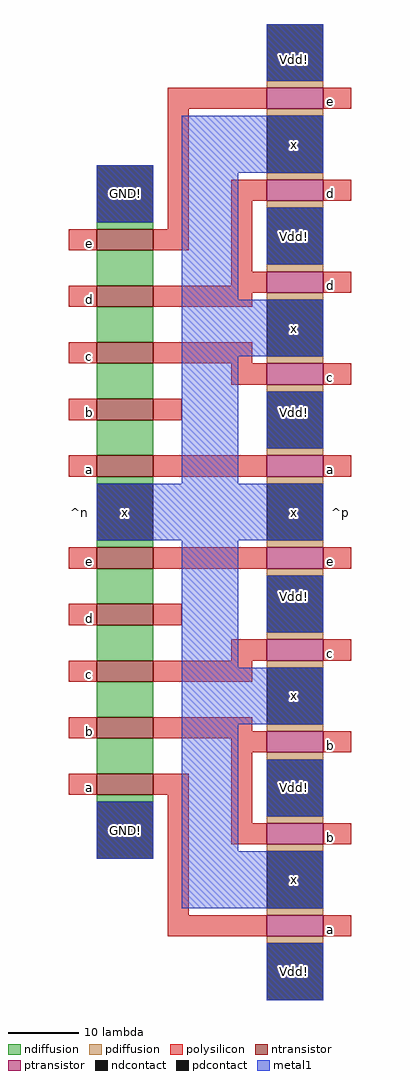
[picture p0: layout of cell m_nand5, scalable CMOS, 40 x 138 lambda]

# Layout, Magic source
magic
tech scmos
<< ndiffusion >>
rect -191 -696 -183 -695
rect -191 -704 -183 -699
rect -191 -712 -183 -707
rect -191 -720 -183 -715
rect -191 -728 -183 -723
rect -191 -732 -183 -731
rect -191 -741 -183 -740
rect -191 -749 -183 -744
rect -191 -757 -183 -752
rect -191 -765 -183 -760
rect -191 -773 -183 -768
rect -191 -777 -183 -776
<< pdiffusion >>
rect -167 -676 -159 -675
rect -167 -680 -159 -679
rect -167 -689 -159 -688
rect -167 -693 -159 -692
rect -167 -702 -159 -701
rect -167 -706 -159 -705
rect -167 -715 -159 -714
rect -167 -719 -159 -718
rect -167 -728 -159 -727
rect -167 -732 -159 -731
rect -167 -741 -159 -740
rect -167 -745 -159 -744
rect -167 -754 -159 -753
rect -167 -758 -159 -757
rect -167 -767 -159 -766
rect -167 -771 -159 -770
rect -167 -780 -159 -779
rect -167 -784 -159 -783
rect -167 -793 -159 -792
rect -167 -797 -159 -796
<< ntransistor >>
rect -191 -699 -183 -696
rect -191 -707 -183 -704
rect -191 -715 -183 -712
rect -191 -723 -183 -720
rect -191 -731 -183 -728
rect -191 -744 -183 -741
rect -191 -752 -183 -749
rect -191 -760 -183 -757
rect -191 -768 -183 -765
rect -191 -776 -183 -773
<< ptransistor >>
rect -167 -679 -159 -676
rect -167 -692 -159 -689
rect -167 -705 -159 -702
rect -167 -718 -159 -715
rect -167 -731 -159 -728
rect -167 -744 -159 -741
rect -167 -757 -159 -754
rect -167 -770 -159 -767
rect -167 -783 -159 -780
rect -167 -796 -159 -793
<< polysilicon >>
rect -181 -679 -167 -676
rect -159 -679 -155 -676
rect -181 -696 -178 -679
rect -195 -699 -191 -696
rect -183 -699 -178 -696
rect -172 -692 -167 -689
rect -159 -692 -155 -689
rect -172 -702 -169 -692
rect -172 -704 -167 -702
rect -195 -707 -191 -704
rect -183 -705 -167 -704
rect -159 -705 -155 -702
rect -183 -707 -169 -705
rect -195 -715 -191 -712
rect -183 -715 -169 -712
rect -172 -718 -167 -715
rect -159 -718 -155 -715
rect -195 -723 -191 -720
rect -183 -723 -179 -720
rect -195 -731 -191 -728
rect -183 -731 -167 -728
rect -159 -731 -155 -728
rect -195 -744 -191 -741
rect -183 -744 -167 -741
rect -159 -744 -155 -741
rect -195 -752 -191 -749
rect -183 -752 -179 -749
rect -172 -757 -167 -754
rect -159 -757 -155 -754
rect -195 -760 -191 -757
rect -183 -760 -169 -757
rect -195 -768 -191 -765
rect -183 -767 -169 -765
rect -183 -768 -167 -767
rect -172 -770 -167 -768
rect -159 -770 -155 -767
rect -195 -776 -191 -773
rect -183 -776 -178 -773
rect -181 -793 -178 -776
rect -172 -780 -169 -770
rect -172 -783 -167 -780
rect -159 -783 -155 -780
rect -181 -796 -167 -793
rect -159 -796 -155 -793
<< ndcontact >>
rect -191 -695 -183 -687
rect -191 -740 -183 -732
rect -191 -785 -183 -777
<< pdcontact >>
rect -167 -675 -159 -667
rect -167 -688 -159 -680
rect -167 -701 -159 -693
rect -167 -714 -159 -706
rect -167 -727 -159 -719
rect -167 -740 -159 -732
rect -167 -753 -159 -745
rect -167 -766 -159 -758
rect -167 -779 -159 -771
rect -167 -792 -159 -784
rect -167 -805 -159 -797
<< metal1 >>
rect -167 -675 -159 -667
rect -191 -695 -183 -687
rect -179 -688 -159 -680
rect -179 -706 -171 -688
rect -167 -701 -159 -693
rect -179 -714 -159 -706
rect -179 -732 -171 -714
rect -167 -727 -159 -719
rect -191 -740 -159 -732
rect -179 -758 -171 -740
rect -167 -753 -159 -745
rect -179 -766 -159 -758
rect -191 -785 -183 -777
rect -179 -784 -171 -766
rect -167 -779 -159 -771
rect -179 -792 -159 -784
rect -167 -805 -159 -797
<< labels >>
rlabel metal1 -163 -722 -163 -722 5 Vdd!
rlabel metal1 -163 -748 -163 -748 5 Vdd!
rlabel metal1 -163 -801 -163 -801 1 Vdd!
rlabel metal1 -163 -710 -163 -710 5 x
rlabel metal1 -163 -672 -163 -672 1 Vdd!
rlabel metal1 -163 -684 -163 -684 5 x
rlabel polysilicon -192 -730 -192 -730 3 a
rlabel polysilicon -192 -722 -192 -722 3 b
rlabel polysilicon -192 -714 -192 -714 3 c
rlabel metal1 -187 -736 -187 -736 5 x
rlabel polysilicon -192 -706 -192 -706 1 d
rlabel metal1 -187 -691 -187 -691 5 GND!
rlabel metal1 -187 -781 -187 -781 1 GND!
rlabel polysilicon -192 -759 -192 -759 3 c
rlabel polysilicon -192 -767 -192 -767 3 b
rlabel polysilicon -192 -775 -192 -775 3 a
rlabel polysilicon -192 -751 -192 -751 1 d
rlabel polysilicon -192 -743 -192 -743 3 e
rlabel polysilicon -192 -698 -192 -698 3 e
rlabel metal1 -163 -697 -163 -697 1 Vdd!
rlabel metal1 -163 -736 -163 -736 1 x
rlabel metal1 -163 -762 -163 -762 5 x
rlabel metal1 -163 -788 -163 -788 1 x
rlabel metal1 -163 -775 -163 -775 1 Vdd!
rlabel polysilicon -158 -678 -158 -678 7 e
rlabel polysilicon -158 -743 -158 -743 7 e
rlabel polysilicon -158 -795 -158 -795 7 a
rlabel polysilicon -158 -730 -158 -730 7 a
rlabel polysilicon -158 -717 -158 -717 7 c
rlabel polysilicon -158 -756 -158 -756 7 c
rlabel polysilicon -158 -782 -158 -782 7 b
rlabel polysilicon -158 -769 -158 -769 7 b
rlabel polysilicon -158 -704 -158 -704 7 d
rlabel polysilicon -158 -691 -158 -691 7 d
rlabel space -196 -785 -191 -687 7 ^n
rlabel space -159 -805 -154 -667 3 ^p
<< end >>
